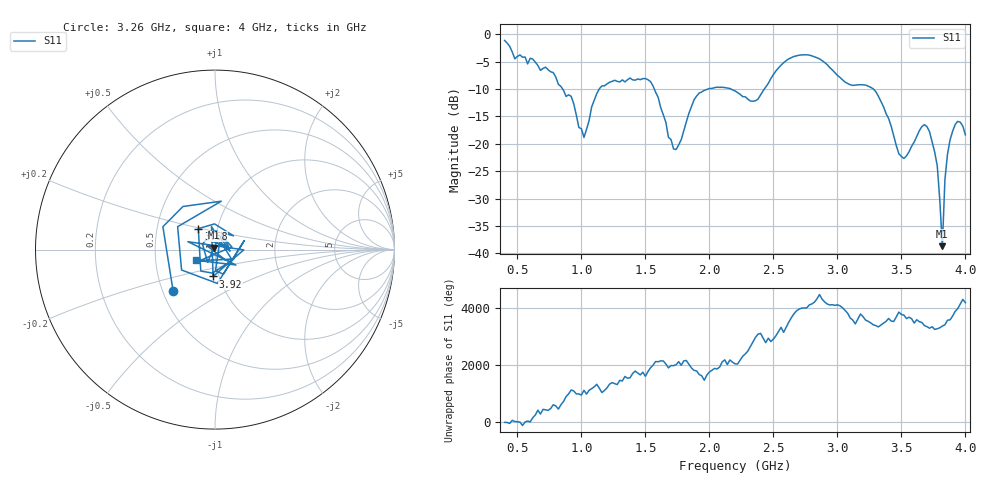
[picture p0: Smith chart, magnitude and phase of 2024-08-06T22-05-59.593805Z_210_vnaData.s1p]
!Created with skrf (http://scikit-rf.org).
# Hz S RI R 50.0
!freq ReS11 ImS11
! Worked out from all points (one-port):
!   181 points, 400 MHz to 4 GHz, reference 50 ohm
!   lowest |S11| = -38.7 dB at 3.82 GHz (marker M1), VSWR 1.02, Z = 49.6 + j1.07 ohm
!   |S11| at or under -10 dB: 853.4 MHz to 1.139 GHz (285.9 MHz wide, 28.7 % of centre); 1.569 GHz to 1.99 GHz (420.4 MHz wide, 23.6 % of centre); 3.281 GHz to end of sweep (the widest 3 of 4)
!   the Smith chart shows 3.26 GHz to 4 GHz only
!   S11 on the Smith chart (normalised r, x): 3.26 GHz: 0.57, -0.29; 3.68 GHz: 0.81, +0.19; 3.92 GHz: 0.94, -0.29; 4 GHz: 0.81, -0.10
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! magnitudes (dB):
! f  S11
! 400 MHz  -1.1
! 480 MHz  -4.5
! 720 MHz  -6.0
! 860 MHz  -10.2
! 920 MHz  -11.3
! 1.02 GHz  -18.8
! 1.14 GHz  -10.0
! 1.3 GHz  -8.7
! 1.54 GHz  -8.7
! 1.72 GHz  -21.0
! 1.76 GHz  -20.2
! 1.92 GHz  -10.7
! 2.2 GHz  -10.3
! 2.36 GHz  -12.2
! 2.66 GHz  -4.1
! 2.86 GHz  -4.5
! 3.1 GHz  -9.2
! 3.26 GHz  -9.7
! 3.4 GHz  -15.4
! 3.48 GHz  -21.8
! 3.56 GHz  -21.4
! 3.68 GHz  -16.5
! 3.78 GHz  -24.0
! 3.82 GHz  -38.7
! 3.84 GHz  -26.6
! 3.86 GHz  -22.0
! 3.92 GHz  -16.5
! 4 GHz  -18.4
